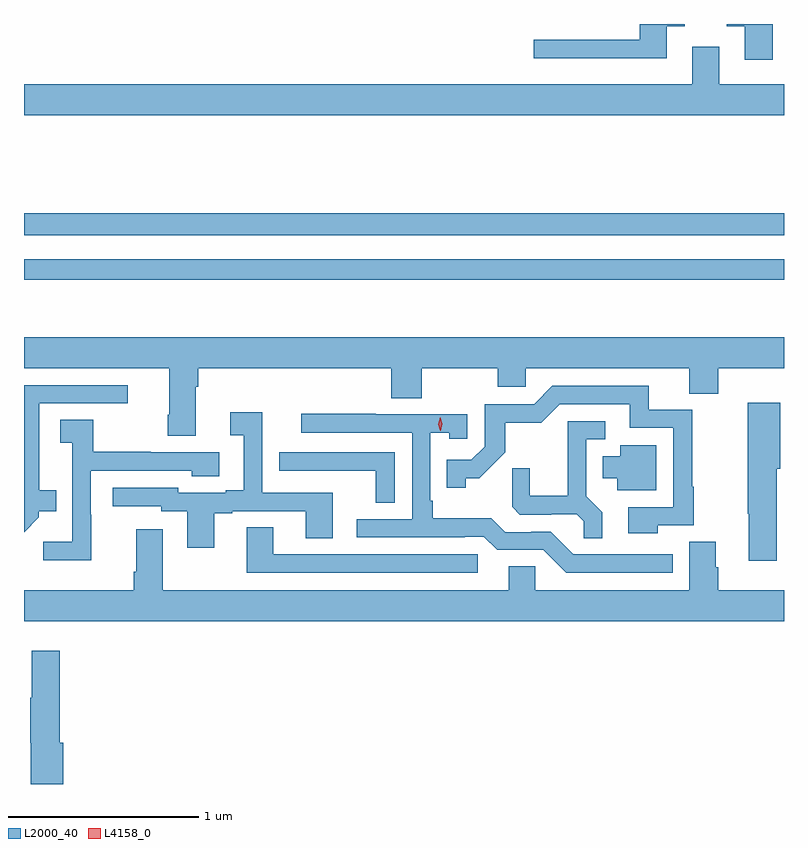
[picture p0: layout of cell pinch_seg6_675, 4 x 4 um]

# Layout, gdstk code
import gdstk
lib = gdstk.Library(unit=1e-6, precision=1e-09)
def R(c, l, rs):  # rectangles x0, y0, x1, y1
    for r in rs: c.add(gdstk.rectangle(r[:2], r[2:], *l))
def P(c, l, *ps):  # polygons
    for p in ps: c.add(gdstk.Polygon(p, *l))
L2000_40 = (2000, 40)
L4158_0 = (4158, 0)

pinch_seg6_675 = lib.new_cell('pinch_seg6_675')
R(pinch_seg6_675, L2000_40, [(436.593,937.146,440.593,937.254), (436.593,937.38,440.593,937.496)])
P(pinch_seg6_675, L2000_40, [(440.535,938.492),(440.291,938.492),(440.291,938.481),(440.387,938.481),(440.387,938.304),(440.535,938.304)],
  [(439.975,938.481),(440.071,938.481),(440.071,938.492),(439.835,938.492),(439.835,938.409),(439.275,938.409),(439.275,938.312),(439.975,938.312)],
  [(440.593,938.176),(440.251,938.176),(440.251,938.371),(440.111,938.371),(440.111,938.176),(436.593,938.176),(436.593,938.012),(440.593,938.012)],
  [(437.497,936.584),(437.51,936.584),(437.51,936.68),(438.527,936.68),(438.527,936.523),(438.687,936.523),(438.687,936.68),(439.087,936.68),(439.087,936.582),(439.233,936.582),(439.233,936.68),(440.093,936.68),(440.093,936.547),(440.246,936.547),(440.246,936.68),(440.593,936.68),(440.593,936.844),(436.593,936.844),(436.593,936.68),(437.357,936.68),(437.357,936.436),(437.35,936.436),(437.35,936.324),(437.497,936.324)],
  [(436.671,935.895),(436.671,935.927),(436.763,935.927),(436.763,936.037),(436.672,936.037),(436.672,936.495),(437.14,936.495),(437.14,936.591),(436.593,936.591),(436.593,935.817)],
  [(439.929,935.853),(440.119,935.853),(440.119,936.056),(440.111,936.056),(440.111,936.462),(439.88,936.462),(439.88,936.588),(439.374,936.588),(439.278,936.492),(439.017,936.492),(439.017,936.267),(438.948,936.198),(438.817,936.198),(438.817,936.051),(438.918,936.051),(438.918,936.101),(438.988,936.101),(439.126,936.238),(439.126,936.394),(439.315,936.394),(439.413,936.492),(439.781,936.492),(439.781,936.366),(440.01,936.366),(440.01,935.949),(439.773,935.949),(439.773,935.813),(439.929,935.813)],
  [(440.555,936.15),(440.573,936.15),(440.573,936.499),(440.402,936.499),(440.402,936.15),(440.401,936.15),(440.401,935.915),(440.408,935.915),(440.408,935.667),(440.555,935.667)],
  [(437.593,935.916),(437.689,935.916),(437.689,935.928),(438.077,935.928),(438.077,935.785),(438.217,935.785),(438.217,936.024),(437.847,936.024),(437.847,936.448),(437.679,936.448),(437.679,936.328),(437.75,936.328),(437.75,936.037),(437.654,936.037),(437.654,936.024),(437.406,936.024),(437.406,936.051),(437.061,936.051),(437.061,935.955),(437.316,935.955),(437.316,935.928),(437.453,935.928),(437.453,935.736),(437.593,935.736)],
  [(440.008,935.7),(439.485,935.7),(439.365,935.82),(439.264,935.82),(439.264,935.817),(439.125,935.817),(439.052,935.89),(438.745,935.89),(438.745,935.983),(438.732,935.983),(438.732,936.341),(438.831,936.341),(438.831,936.309),(438.927,936.309),(438.927,936.438),(438.443,936.438),(438.443,936.441),(438.051,936.441),(438.051,936.342),(438.636,936.342),(438.636,935.886),(438.345,935.886),(438.345,935.79),(438.914,935.79),(438.914,935.793),(439.014,935.793),(439.083,935.724),(439.326,935.724),(439.446,935.604),(440.008,935.604)],
  [(436.947,935.909),(436.944,935.909),(436.944,936.141),(437.475,936.141),(437.475,936.113),(437.62,936.113),(437.62,936.237),(437.261,936.237),(437.261,936.24),(436.957,936.24),(436.957,936.41),(436.785,936.41),(436.785,936.289),(436.848,936.289),(436.848,935.767),(436.695,935.767),(436.695,935.669),(436.947,935.669)],
  [(439.637,935.921),(439.551,936.007),(439.551,936.306),(439.651,936.306),(439.651,936.402),(439.454,936.402),(439.454,936.01),(439.256,936.01),(439.256,936.153),(439.162,936.153),(439.162,935.951),(439.203,935.91),(439.368,935.91),(439.368,935.913),(439.502,935.913),(439.539,935.876),(439.539,935.785),(439.637,935.785)],
  [(439.921,936.274),(439.73,936.274),(439.73,936.217),(439.64,936.217),(439.64,936.101),(439.715,936.101),(439.715,936.038),(439.921,936.038)],
  [(438.543,936.237),(437.937,936.237),(437.937,936.142),(438.049,936.142),(438.049,936.141),(438.445,936.141),(438.445,935.971),(438.543,935.971)],
  [(438.982,935.7),(437.905,935.7),(437.905,935.843),(437.765,935.843),(437.765,935.604),(438.982,935.604)],
  [(440.593,935.512),(440.246,935.512),(440.246,935.634),(440.233,935.634),(440.233,935.768),(440.093,935.768),(440.093,935.512),(439.284,935.512),(439.284,935.639),(439.145,935.639),(439.145,935.512),(437.323,935.512),(437.323,935.833),(437.183,935.833),(437.183,935.608),(437.171,935.608),(437.171,935.512),(436.593,935.512),(436.593,935.348),(440.593,935.348)],
  [(436.799,934.71),(436.781,934.71),(436.781,935.194),(436.634,935.194),(436.634,934.946),(436.627,934.946),(436.627,934.71),(436.628,934.71),(436.628,934.492),(436.799,934.492)])
P(pinch_seg6_675, L4158_0, [(438.785,936.351),(438.774,936.386),(438.783,936.423),(438.783,936.423),(438.783,936.423),(438.794,936.387),(438.786,936.351),(438.786,936.351)])

lib.write_gds('pinch_seg6_675.gds')
